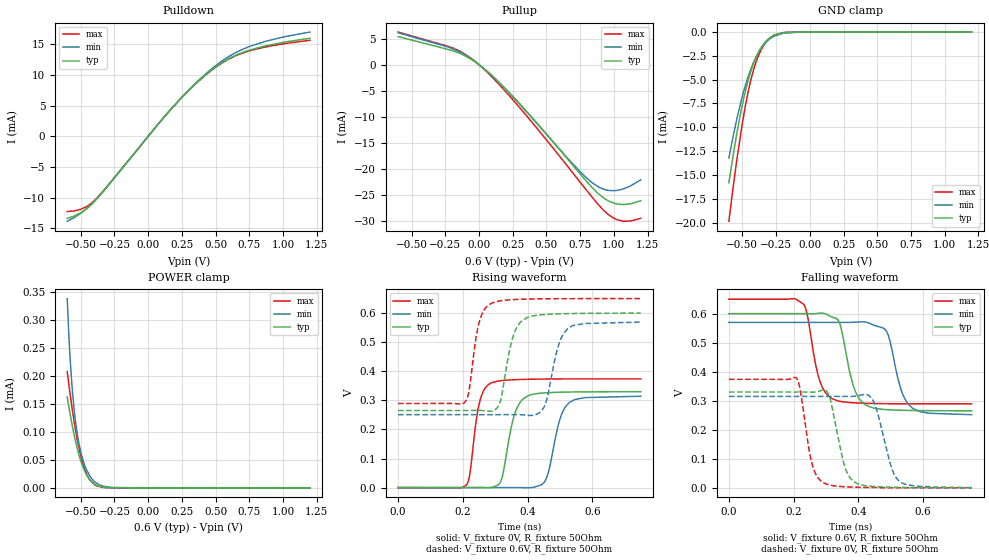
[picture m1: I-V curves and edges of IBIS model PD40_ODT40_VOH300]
| [Disclaimer]  This software code and all associated documentation,
| comments or other information (collectively "Software") is
| provided "AS IS" without warranty of any kind. Winbond Electronics
| Corporation ("WEC") hereby DISCLAIMS ALL WARRANTIES EXPRESS
| OR IMPLIED, INCLUDING BUT NOT LIMITED TO, NONINFRINGEMENT
| OF THIRD PARTY RIGHTS, AND ANY IMPLIED WARRANTIES OF MERCHANTABILITY
| OR FITNESS FOR ANY PARTICULAR PURPOSE. WEC DOES NOT
| WARRANT THAT THE SOFTWARE WILL MEET YOUR REQUIREMENTS, OR THAT
| THE OPERATION OF THE SOFTWARE WILL BE UNINTERRUPTED OR ERROR-FREE.
| FURTHERMORE, WEC DOES NOT MAKE ANY REPRESENTATIONS REGARDING
| THE USE OR THE RESULTS OF THE USE OF THE SOFTWARE IN
| TERMS OF ITS CORRECTNESS, ACCURACY, RELIABILITY, OR OTHERWISE.
| THE ENTIRE RISK ARISING OUT OF USE OR PERFORMANCE OF THE SOFTWARE
| SHALL REMAIN WITH YOU. IN NO EVENT SHALL WEC, ITS AFFILIATED
| COMPANIES OR THEIR SUPPLIERS BE LIABLE FOR ANY DIRECT,
| INDIRECT, CONSEQUENTIAL, INCIDENTAL, OR SPECIAL DAMAGES (INCLUDING,
| WITHOUT LIMITATION, DAMAGES FOR LOSS OF PROFITS, BUSINESS
| INTERRUPTION, OR LOSS OF INFORMATION) ARISING OUT OF YOUR
| USE OF OR INABILITY TO USE THE SOFTWARE, EVEN IF WEC HAS BEEN
| ADVISED OF THE POSSIBILITY OF SUCH DAMAGES.
| [Copyright] Copyright 2020 Winbond Electronics Corporation. All rights reserved
| From w66cq2nquafs_a001.ibs, W66CQ2NQUAFS, Winbond Electronics Corp.
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[Model]   PD40_ODT40_VOH300
Model_type   I/O
Polarity   Non-Inverting
Enable   Active-Low
Vinl = 0.08
Vinh = 0.22
Vmeas = 0.15
Vref = 0
Cref = 0pF
Rref = 40
|   typ   min   max
C_comp   0.85pF   0.80pF   0.90pF
[Voltage Range]   0.6   0.57   0.65
[Temperature Range]   25   125   -40
[Pullup Reference]   0.6   0.57   0.65
[Pulldown Reference]   0   0   0
[Power Clamp Reference]   0.6   0.57   0.65
[GND Clamp Reference]   0   0   0
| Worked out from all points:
|   slope of the pulldown table from 0 to 0.09 V, typ, clamps not added: 37.4 ohm
|   slope of the pullup table from 0 to 0.09 V, typ, clamps not added: 46.4 ohm
|   GND clamp passes 1 mA (typ) near -0.33 V on its own axis
|   falling waveform, V_fixture 0.6V, R_fixture 50Ohm: 20-80 % time 40.6ps typ, 42.4ps min, 37.9ps max; typ from 0.6 V to 0.265 V
|   rising waveform, V_fixture 0V, R_fixture 50Ohm: 20-80 % time 36.6ps typ, 38.5ps min, 28ps max; typ from 0 V to 0.33 V
|   rising waveform, V_fixture 0.6V, R_fixture 50Ohm: 20-80 % time 36.8ps typ, 39ps min, 30ps max; typ from 0.265 V to 0.6 V
|   falling waveform, V_fixture 0V, R_fixture 50Ohm: 20-80 % time 38.7ps typ, 43.5ps min, 33.3ps max; typ from 0.33 V to 0 V
[Pulldown]
|   Voltage   I(typ)   I(min)   I(max)
-600mV    -13.36mA   -13.83mA   -12.25mA
-499.3mV  -12.46mA   -12.53mA   -11.89mA
-456.3mV  -11.81mA   -11.77mA   -11.44mA
-400.5mV  -10.68mA   -10.6mA    -10.49mA
-307.6mV  -8.343mA   -8.286mA   -8.259mA
156mV     4.092mA    4.081mA    4.083mA
338.6mV   8.298mA    8.359mA    8.269mA
502.4mV   11.32mA    11.54mA    11.27mA
618.1mV   12.87mA    13.26mA    12.81mA
762mV     14.11mA    14.72mA    13.99mA
1.014V    15.36mA    16.23mA    15.11mA
1.2V      15.98mA    16.99mA    15.64mA
[GND Clamp]
|   Voltage   I(typ)   I(min)   I(max)
-600mV    -15.82mA   -13.22mA   -19.87mA
-537.9mV  -10.39mA   -8.936mA   -13.12mA
-499.3mV  -7.577mA   -6.698mA   -9.507mA
-457.2mV  -5.08mA    -4.694mA   -6.282mA
-434.3mV  -3.986mA   -3.786mA   -4.86mA
-389.4mV  -2.369mA   -2.381mA   -2.774mA
-345.2mV  -1.304mA   -1.398mA   -1.463mA
-308.2mV  -734.7uA   -837.9uA   -798.2uA
-267.1mV  -345.1uA   -446.6uA   -349.7uA
-198.3mV  -77.01uA   -133.3uA   -59.89uA
-59.4mV   -1.418uA   -6.781uA   -413.2nA
1.2V      0A         0A         0A
[Pullup]
|   Voltage   I(typ)   I(min)   I(max)
-600mV    5.379mA    6.114mA    6.249mA
-198.3mV  2.687mA    3.073mA    3.242mA
-113.4mV  1.826mA    1.996mA    2.162mA
-3.3mV    60.54uA    64.1uA     74.16uA
124.8mV   -2.773mA   -2.859mA   -3.138mA
294.4mV   -7.285mA   -7.402mA   -8.028mA
759.4mV   -21.26mA   -20.8mA    -22.86mA
875.5mV   -24.53mA   -23.3mA    -26.58mA
954.4mV   -26.07mA   -24.1mA    -28.65mA
1.029V    -26.76mA   -24.11mA   -29.8mA
1.124V    -26.71mA   -23.27mA   -30.01mA
1.2V      -26.11mA   -22.11mA   -29.49mA
[POWER Clamp]
|   Voltage   I(typ)   I(min)   I(max)
-600mV    162.4uA    337.9uA    207.7uA
-589.2mV  146.5uA    278.7uA    187uA
-580.5mV  134.4uA    239.4uA    171uA
-565.8mV  115.1uA    186.1uA    145.6uA
-551mV    97.15uA    145.4uA    121.9uA
-527mV    72.08uA    98.76uA    88.02uA
-499.7mV  48.52uA    64.03uA    56.94uA
-467.2mV  28.12uA    37.95uA    31.22uA
-434.3mV  14.8uA     22.04uA    14.82uA
-401.1mV  7.11uA     11.84uA    6.594uA
-269.4mV  148.5nA    667.4nA    28.65nA
1.2V      0A         0A         0A
[Ramp]
R_load = 50
|   typ   min   max
dV/dt_r 1.9798E-01/3.6491E-11   1.8852E-01/3.8486E-11   2.2434E-01/2.7951E-11
dV/dt_f 2.0084E-01/4.0443E-11   1.9079E-01/4.2086E-11   2.1643E-01/3.7855E-11
[Falling Waveform]
V_fixture = 0.6V
V_fixture_min = 0.57V
V_fixture_max = 0.65V
R_fixture = 50Ohm
C_fixture = 0F
|   Time   V(typ)   V(min)   V(max)
0s        600mV      570mV      650mV
230ps     600mV      570mV      633.3mV
282ps     601.6mV    570mV      364.7mV
319ps     588.3mV    570mV      307.3mV
341ps     570.8mV    570mV      298.8mV
423ps     285.2mV    570.9mV    291.1mV
488ps     269.3mV    537.6mV    289.9mV
530ps     267.4mV    344.7mV    289.6mV
566ps     266.5mV    275.4mV    289.4mV
750ps     265.3mV    252mV      289.3mV
[Rising Waveform]
V_fixture = 0V
V_fixture_min = 0V
V_fixture_max = 0V
R_fixture = 50Ohm
C_fixture = 0F
|   Time   V(typ)   V(min)   V(max)
0s        4.358uV    35.37uV    865.7nV
211ps     2.803uV    35.37uV    8.857mV
254ps     33.03uV    35.49uV    303mV
290ps     591.5uV    34.65uV    361mV
318ps     23.58mV    32.26uV    367.7mV
360ps     251.5mV    73.81uV    371mV
399ps     314.3mV    -462.8uV   372.4mV
458ps     326.1mV    31.03mV    373.4mV
529ps     328.6mV    292.6mV    373.7mV
750ps     330mV      314.2mV    373.9mV
[Rising Waveform]
V_fixture = 0.6V
V_fixture_min = 0.57V
V_fixture_max = 0.65V
R_fixture = 50Ohm
C_fixture = 0F
|   Time   V(typ)   V(min)   V(max)
0s        265.2mV    250.8mV    289.3mV
205ps     265.1mV    250.8mV    291.7mV
250ps     265.3mV    250.8mV    565.9mV
290ps     262.8mV    250.8mV    634.7mV
313ps     286.8mV    250.8mV    641.7mV
351ps     502.7mV    251mV      646.2mV
384ps     575.2mV    250.2mV    647.9mV
452ps     595.2mV    278.5mV    649.4mV
523ps     598.3mV    545.4mV    649.8mV
750ps     599.9mV    569.2mV    650mV
[Falling Waveform]
|Gnd
V_fixture = 0V
V_fixture_min = 0V
V_fixture_max = 0V
R_fixture = 50Ohm
C_fixture = 0F
|   Time   V(typ)   V(min)   V(max)
0s        330mV      315mV      373.9mV
208ps     330mV      315mV      379.4mV
258ps     329.7mV    315mV      78.33mV
298ps     336.3mV    315mV      14.43mV
313ps     306.1mV    315mV      9.349mV
360ps     66.37mV    314.8mV    3.505mV
392ps     17.34mV    316.3mV    2.093mV
446ps     4.551mV    300.1mV    891.9uV
525ps     1.527mV    24.67mV    233.2uV
750ps     79.19uV    918.2uV    -13.88uV
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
